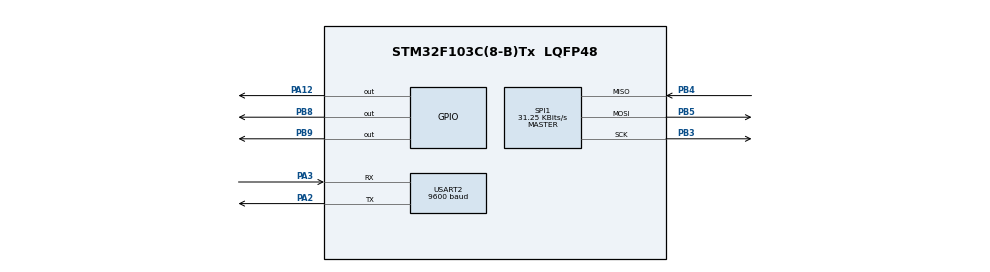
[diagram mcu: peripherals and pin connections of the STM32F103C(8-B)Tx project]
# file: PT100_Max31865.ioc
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Mcu.Family=STM32F1
Mcu.Name=STM32F103C(8-B)Tx
Mcu.Package=LQFP48
NVIC.PriorityGroup=NVIC_PRIORITYGROUP_4
NVIC.USART2_IRQn=true\:0\:0\:false\:false\:true\:true
PA12.GPIO_Speed=GPIO_SPEED_FREQ_HIGH
PA12.PinState=GPIO_PIN_SET
PA12.Signal=GPIO_Output
PA13.Mode=Serial_Wire
PA13.Signal=SYS_JTMS-SWDIO
PA14.Mode=Serial_Wire
PA14.Signal=SYS_JTCK-SWCLK
PA2.Mode=Asynchronous
PA2.Signal=USART2_TX
PA3.Mode=Asynchronous
PA3.Signal=USART2_RX
PB3.Mode=Full_Duplex_Master
PB3.Signal=SPI1_SCK
PB4.Mode=Full_Duplex_Master
PB4.Signal=SPI1_MISO
PB5.Mode=Full_Duplex_Master
PB5.Signal=SPI1_MOSI
PB8.GPIO_Speed=GPIO_SPEED_FREQ_LOW
PB8.PinState=GPIO_PIN_RESET
PB8.Signal=GPIO_Output
PB9.Signal=GPIO_Output
PD0-OSC_IN.Mode=HSE-External-Oscillator
PD0-OSC_IN.Signal=RCC_OSC_IN
PD1-OSC_OUT.Mode=HSE-External-Oscillator
PD1-OSC_OUT.Signal=RCC_OSC_OUT
ProjectManager.HeapSize=0x200
ProjectManager.StackSize=0x400
ProjectManager.TargetToolchain=TrueSTUDIO
RCC.APB1Freq_Value=8000000
RCC.APB2Freq_Value=8000000
RCC.PLLSourceVirtual=RCC_PLLSOURCE_HSE
RCC.SYSCLKSource=RCC_SYSCLKSOURCE_HSE
RCC.USBFreq_Value=16000000
SPI1.BaudRatePrescaler=SPI_BAUDRATEPRESCALER_256
SPI1.CLKPhase=SPI_PHASE_2EDGE
SPI1.CalculateBaudRate=31.25 KBits/s
SPI1.Direction=SPI_DIRECTION_2LINES
SPI1.Mode=SPI_MODE_MASTER
SPI1.VirtualType=VM_MASTER
USART2.BaudRate=9600
USART2.VirtualMode=VM_ASYNC
board=PT100_Max31865

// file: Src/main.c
/**
  ******************************************************************************
  * File Name          : main.c
  * Description        : Main program body
  ******************************************************************************
  ** This notice applies to any and all portions of this file
  * that are not between comment pairs USER CODE BEGIN and
  * USER CODE END. Other portions of this file, whether
  * inserted by the user or by software development tools
  * are owned by their respective copyright owners.
  *
  * COPYRIGHT(c) 2019 STMicroelectronics
  *
  * Redistribution and use in source and binary forms, with or without modification,
  * are permitted provided that the following conditions are met:
  *   1. Redistributions of source code must retain the above copyright notice,
  *      this list of conditions and the following disclaimer.
  *   2. Redistributions in binary form must reproduce the above copyright notice,
  *      this list of conditions and the following disclaimer in the documentation
  *      and/or other materials provided with the distribution.
  *   3. Neither the name of STMicroelectronics nor the names of its contributors
  *      may be used to endorse or promote products derived from this software
  *      without specific prior written permission.
  *
  * THIS SOFTWARE IS PROVIDED BY THE COPYRIGHT HOLDERS AND CONTRIBUTORS "AS IS"
  * AND ANY EXPRESS OR IMPLIED WARRANTIES, INCLUDING, BUT NOT LIMITED TO, THE
  * IMPLIED WARRANTIES OF MERCHANTABILITY AND FITNESS FOR A PARTICULAR PURPOSE ARE
  * DISCLAIMED. IN NO EVENT SHALL THE COPYRIGHT HOLDER OR CONTRIBUTORS BE LIABLE
  * FOR ANY DIRECT, INDIRECT, INCIDENTAL, SPECIAL, EXEMPLARY, OR CONSEQUENTIAL
  * DAMAGES (INCLUDING, BUT NOT LIMITED TO, PROCUREMENT OF SUBSTITUTE GOODS OR
  * SERVICES; LOSS OF USE, DATA, OR PROFITS; OR BUSINESS INTERRUPTION) HOWEVER
  * CAUSED AND ON ANY THEORY OF LIABILITY, WHETHER IN CONTRACT, STRICT LIABILITY,
  * OR TORT (INCLUDING NEGLIGENCE OR OTHERWISE) ARISING IN ANY WAY OUT OF THE USE
  * OF THIS SOFTWARE, EVEN IF ADVISED OF THE POSSIBILITY OF SUCH DAMAGE.
  *
  ******************************************************************************
  */

#include "main.h"
#include "stm32f1xx_hal.h"

/* USER CODE BEGIN Includes */
#include <dbgPrint.h>
#include <MAX31865.h>
#include <ChecksumXOR.h>
#include <stringlib.h>
#include <macro.h>

#include "stdlib.h"
#include "stdio.h"
#include "string.h"
#include "math.h"
/* USER CODE END Includes */

SPI_HandleTypeDef hspi1;

UART_HandleTypeDef huart2;

/* USER CODE BEGIN PV */
/* Private variables ---------------------------------------------------------*/
struct TEMP
{
	uint8_t readData[128];
	uint8_t checksum[2];
	char Convert[50];
} A;
/* USER CODE END PV */

void SystemClock_Config(void);
static void MX_GPIO_Init(void);
static void MX_SPI1_Init(void);
static void MX_USART2_UART_Init(void);

/* USER CODE BEGIN PFP */
/* Private function prototypes -----------------------------------------------*/

/* USER CODE END PFP */

/* USER CODE BEGIN 0 */
volatile uint8_t proceed_flag = 0;
volatile uint8_t proceed_flag_1 = 0;
uint8_t proceed_flag_2 = 0;
uint8_t proceed_flag_3 = 0;

uint8_t string[] = "ATEMP,";

void printchar (uint8_t c)
{
	HAL_UART_Transmit(&huart2, &c, 1, 1000);
}

//............................/*Functions Document for MAX31865*/.........................
void spi_write(uint8_t *data, uint8_t len)
{
	HAL_SPI_Transmit(&hspi1, data, len, HAL_MAX_DELAY);
}
void spi_read(uint8_t *buffer, uint8_t len)
{
	HAL_SPI_Receive(&hspi1, buffer, len, HAL_MAX_DELAY);
}
void MAX31865_read(uint8_t addr, uint8_t *buffer, uint8_t len)
{
    addr &= ~MAX31865_READ;                                     // Force read bit on address

    HAL_GPIO_WritePin(GPIO_PORT_CS, GPIO_PIN_CS, GPIO_PIN_RESET);          // Enable CE
    spi_write(&addr, 1);                                        // Write addr
    while(HAL_SPI_GetState(&hspi1) != HAL_SPI_STATE_READY);
    spi_read(buffer, len);                                      // Read data
    HAL_GPIO_WritePin(GPIO_PORT_CS, GPIO_PIN_CS, GPIO_PIN_SET);         // Disable CE

}
void MAX31865_write(uint8_t addr, uint8_t data)
{
    addr |= MAX31865_WRITE;                                 // Force write bit on address

    HAL_GPIO_WritePin(GPIO_PORT_CS, GPIO_PIN_CS, GPIO_PIN_RESET);      // Enable CE
    spi_write(&addr, 1);                                    // Write addr
    spi_write(&data, 1);                                    // Write data
    HAL_GPIO_WritePin(GPIO_PORT_CS, GPIO_PIN_CS, GPIO_PIN_SET);     // Disable CE
}

float  temperature(float RTDnominal, float refResistor, float data) {

  float Z1, Z2, Z3, Z4, Rt, temp;

  Rt = data;
  Rt /= 32768;
  Rt *= refResistor;

  Z1 = -RTD_A;
  Z2 = RTD_A * RTD_A - (4 * RTD_B);
  Z3 = (4 * RTD_B) / RTDnominal;
  Z4 = 2 * RTD_B;

  temp = Z2 + (Z3 * Rt);
  temp = (sqrt(temp) + Z1) / Z4;

  if (temp >= 0) return temp;

  // ugh.
  Rt /= RTDnominal;
  Rt *= 100;      // normalize to 100 ohm

  float rpoly = Rt;

  temp = -242.02;
  temp += 2.2228 * rpoly;
  rpoly *= Rt;  // square
  temp += 2.5859e-3 * rpoly;
  rpoly *= Rt;  // ^3
  temp -= 4.8260e-6 * rpoly;
  rpoly *= Rt;  // ^4
  temp -= 2.8183e-8 * rpoly;
  rpoly *= Rt;  // ^5
  temp += 1.5243e-10 * rpoly;

  return temp;
}

float MAX31865_readTemp()
{
	MAX31865_write(0, 0xB2);
	HAL_Delay(100);

    // Read data from max31865 data registers
    uint8_t max3[2];
    MAX31865_read(MAX31856_RTDMSB_REG, max3, 2);

    // Combine 2 bytes into 1 number, and shift 1 down to remove fault bit
    uint32_t data = max3[0] << 8;
    data |= max3[1];
    data >>= 1;
//  DBG_print("data=%02x \r\n",data);

    // Calculate the temperature from the measured resistance
    float temp = temperature(100, 430, (float) data );

    return temp;
}
//......................../*END Functions Document for MAX31865*/.........................

//............................/*Receive Data from Itracking*/..............................
uint8_t rx_index = 0;
uint8_t rx_data;
uint8_t rx_buffer[128] = {0};
//uint8_t version[] = "v1.0 \r\n";

void HAL_UART_RxCpltCallback(UART_HandleTypeDef *huart)
{
	if(huart->Instance == USART2)
	{
		rx_buffer[rx_index++] = rx_data;
		if (rx_data == '\r') {
			proceed_flag_1 = 1;
		}
	}
	HAL_UART_Receive_IT(&huart2, &rx_data, 1);
}

/* USER CODE END 0 */

int main(void)
{

  /* USER CODE BEGIN 1 */
	uint8_t count = 0, index = 0, dem=0, count1;
	uint32_t Time;
	uint8_t result;

	uint8_t lhs[128];
	uint8_t rhs[50];

	uint32_t Delay = 1000;	//Default 1s

  /* USER CODE END 1 */

  /* MCU Configuration----------------------------------------------------------*/

  /* Reset of all peripherals, Initializes the Flash interface and the Systick. */
  HAL_Init();

  /* Configure the system clock */
  SystemClock_Config();

  /* Initialize all configured peripherals */
  MX_GPIO_Init();
  MX_SPI1_Init();
  MX_USART2_UART_Init();

  /* USER CODE BEGIN 2 */
  DBG_setup(printchar);
  HAL_UART_Receive_IT(&huart2, &rx_data, 1);

  /* USER CODE END 2 */

  /* Infinite loop */
  /* USER CODE BEGIN WHILE */
  while (1)
  {
	  DBG_print(rx_buffer);
//...................../*Compare Checksum*/.....................
	  if (proceed_flag_1 != 0) {
		  if (result = compareChecksum(rx_buffer) != 0 ) {
			  	DBG_print("Data: %s \r\n", s.data);
				DBG_print(" True Data \r\n");
//				DBG_print("result:%d \r\n",result);
				proceed_flag = 1;
				proceed_flag_2 = 1;
			} else {
				DBG_print("Data: %s \r\n", s.data);
				DBG_print(s.CheckXOR);
				DBG_print(" False Data \r\n");
//				DBG_print("result:%d \r\n",result);
			}
		  proceed_flag_1 = 0;
	  }

  /* USER CODE END WHILE */

  /* USER CODE BEGIN 3 */

//......................../*Handle Receive from Itracking */....................
	  if (proceed_flag_2 != 0) {
		  memset(lhs, 0, 128);
		  memset(rhs, 0, 50);

		  for (uint8_t k=0; k < strlen(rx_buffer); k++)
		  {
				count++;
				if (strncmp(&rx_buffer[k], "ATEMP", 5) == 0) {
					for (uint8_t i=count; rx_buffer[i] != '\n'; i++)
					{
						index ++;
						memcpy(lhs, rx_buffer+(count-1), index);
					}
					break;
				}
			}

	  	for (uint8_t j=1; lhs[j] != 0; j++)
		{
			if (lhs[j] == ',')
			{
				for (uint8_t m=j; lhs[m] != '*'; m++)
				{
					dem++;
				}
				memcpy(rhs, lhs + (j + 1), dem - 1);
				dem = 0;
			}
		}

	  	Time = atol (rhs); //Doi sang kieu so nguyen
		DBG_print("Time=%d \r\n",Time);
		if (Time == 0)
		{
			proceed_flag = 0;
			Delay = 1000;
		} else {
			Delay = Time;
			DBG_print("Delay=%d \r\n",Delay);
		}

		proceed_flag_2 = 0;
		count = 0;
	  }

// ............./* Read Temperature */.....................
	  if (proceed_flag != 0)
	  {
		  float temp = MAX31865_readTemp();
//	 	  DBG_print("temp=%f \r\n",temp);

		  if (temp > 0 && temp < 850) {
			  // Khi do nhiet do trong khoang 0 -> 850 thi sang den Do, tat den Xanh
			  HAL_GPIO_WritePin(GPIOB, GPIO_PIN_8, GPIO_PIN_SET);	//Led Do sang
			  HAL_GPIO_WritePin(GPIOB, GPIO_PIN_9, GPIO_PIN_RESET);	//Led Xanh tat
			  proceed_flag_3 = 1;
//			  DBG_print("$TEMP,%f \r\n",temp);
		  } else if (temp > -200 && temp < 0) {
			  // Khi do nhiet do trong khoang -200 -> 0 thi sang den Xanh, tat den Do
			  HAL_GPIO_WritePin(GPIOB, GPIO_PIN_8, GPIO_PIN_RESET);	//Led Do tat
			  HAL_GPIO_WritePin(GPIOB, GPIO_PIN_9, GPIO_PIN_SET);	//Led Xanh sang
			  proceed_flag_3 = 1;
//			  DBG_print("$TEMP,%f \r\n",temp);
		  } else {
			  // Neu nam ngoai ca 2 truong hop tren thi tat ca 2 den
			  // Hoac khi chua ket noi cam bien thi cung tat ca 2 den
			  HAL_GPIO_WritePin(GPIOB, GPIO_PIN_8, GPIO_PIN_RESET);
			  HAL_GPIO_WritePin(GPIOB, GPIO_PIN_9, GPIO_PIN_RESET);
			  proceed_flag_3 = 0;
		  }

//........................./*Checksum XOR Transmit Data*/.......................
		  if (proceed_flag_3 == 1) {

			  memset(A.readData, 0, 128);
			  memset(A.Convert, 0, 50);
			  memset(A.checksum, 0, 2);
			  //Convert doublue to string
			  SL_double2s(temp, sizeof(A.Convert), A.Convert);
//			  DBG_print("%s \r\n", A.Convert);

			  count1 = strlen(A.Convert);
			  memcpy(string + 6, A.Convert, count1);
			  memcpy(string + count1 + 6, "*\r\n", 3);

//		      DBG_print(string);
			  valueChecksum(string, A.readData, A.checksum);
			  if (A.checksum != 0) {
//			  DBG_print("Result: ");
				 DBG_print("$TEMP,%f*%s \r\n", temp, A.checksum);
			  }
			  proceed_flag_3 = 0;
		  }
	  }

//...................../*Clean buffer*/...................
	  rx_index = 0;
	  memset(rx_buffer, 0, 128);
	  HAL_Delay(Delay);
  }
  /* USER CODE END 3 */

}

/** System Clock Configuration
*/
void SystemClock_Config(void)
{

  RCC_OscInitTypeDef RCC_OscInitStruct;
  RCC_ClkInitTypeDef RCC_ClkInitStruct;

    /**Initializes the CPU, AHB and APB busses clocks
    */
  RCC_OscInitStruct.OscillatorType = RCC_OSCILLATORTYPE_HSE;
  RCC_OscInitStruct.HSEState = RCC_HSE_ON;
  RCC_OscInitStruct.PLL.PLLState = RCC_PLL_NONE;
  if (HAL_RCC_OscConfig(&RCC_OscInitStruct) != HAL_OK)
  {
    _Error_Handler(__FILE__, __LINE__);
  }

    /**Initializes the CPU, AHB and APB busses clocks
    */
  RCC_ClkInitStruct.ClockType = RCC_CLOCKTYPE_HCLK|RCC_CLOCKTYPE_SYSCLK
                              |RCC_CLOCKTYPE_PCLK1|RCC_CLOCKTYPE_PCLK2;
  RCC_ClkInitStruct.SYSCLKSource = RCC_SYSCLKSOURCE_HSE;
  RCC_ClkInitStruct.AHBCLKDivider = RCC_SYSCLK_DIV1;
  RCC_ClkInitStruct.APB1CLKDivider = RCC_HCLK_DIV1;
  RCC_ClkInitStruct.APB2CLKDivider = RCC_HCLK_DIV1;

  if (HAL_RCC_ClockConfig(&RCC_ClkInitStruct, FLASH_LATENCY_0) != HAL_OK)
  {
    _Error_Handler(__FILE__, __LINE__);
  }

    /**Configure the Systick interrupt time
    */
  HAL_SYSTICK_Config(HAL_RCC_GetHCLKFreq()/1000);

    /**Configure the Systick
    */
  HAL_SYSTICK_CLKSourceConfig(SYSTICK_CLKSOURCE_HCLK);

  /* SysTick_IRQn interrupt configuration */
  HAL_NVIC_SetPriority(SysTick_IRQn, 0, 0);
}

/* SPI1 init function */
static void MX_SPI1_Init(void)
{

  /* SPI1 parameter configuration*/
  hspi1.Instance = SPI1;
  hspi1.Init.Mode = SPI_MODE_MASTER;
  hspi1.Init.Direction = SPI_DIRECTION_2LINES;
  hspi1.Init.DataSize = SPI_DATASIZE_8BIT;
  hspi1.Init.CLKPolarity = SPI_POLARITY_LOW;
  hspi1.Init.CLKPhase = SPI_PHASE_2EDGE;
  hspi1.Init.NSS = SPI_NSS_SOFT;
  hspi1.Init.BaudRatePrescaler = SPI_BAUDRATEPRESCALER_256;
  hspi1.Init.FirstBit = SPI_FIRSTBIT_MSB;
  hspi1.Init.TIMode = SPI_TIMODE_DISABLE;
  hspi1.Init.CRCCalculation = SPI_CRCCALCULATION_DISABLE;
  hspi1.Init.CRCPolynomial = 10;
  if (HAL_SPI_Init(&hspi1) != HAL_OK)
  {
    _Error_Handler(__FILE__, __LINE__);
  }

}

/* USART2 init function */
static void MX_USART2_UART_Init(void)
{

  huart2.Instance = USART2;
  huart2.Init.BaudRate = 9600;
  huart2.Init.WordLength = UART_WORDLENGTH_8B;
  huart2.Init.StopBits = UART_STOPBITS_1;
  huart2.Init.Parity = UART_PARITY_NONE;
  huart2.Init.Mode = UART_MODE_TX_RX;
  huart2.Init.HwFlowCtl = UART_HWCONTROL_NONE;
  huart2.Init.OverSampling = UART_OVERSAMPLING_16;
  if (HAL_UART_Init(&huart2) != HAL_OK)
  {
    _Error_Handler(__FILE__, __LINE__);
  }

}

/** Configure pins as
        * Analog
        * Input
        * Output
        * EVENT_OUT
        * EXTI
*/
static void MX_GPIO_Init(void)
{

  GPIO_InitTypeDef GPIO_InitStruct;

  /* GPIO Ports Clock Enable */
  __HAL_RCC_GPIOD_CLK_ENABLE();
  __HAL_RCC_GPIOA_CLK_ENABLE();
  __HAL_RCC_GPIOB_CLK_ENABLE();

  /*Configure GPIO pin Output Level */
  HAL_GPIO_WritePin(GPIOA, GPIO_PIN_12, GPIO_PIN_SET);

  /*Configure GPIO pin Output Level */
  HAL_GPIO_WritePin(GPIOB, GPIO_PIN_8|GPIO_PIN_9, GPIO_PIN_RESET);

  /*Configure GPIO pin : PA12 */
  GPIO_InitStruct.Pin = GPIO_PIN_12;
  GPIO_InitStruct.Mode = GPIO_MODE_OUTPUT_PP;
  GPIO_InitStruct.Speed = GPIO_SPEED_FREQ_HIGH;
  HAL_GPIO_Init(GPIOA, &GPIO_InitStruct);

  /*Configure GPIO pins : PB8 PB9 */
  GPIO_InitStruct.Pin = GPIO_PIN_8|GPIO_PIN_9;
  GPIO_InitStruct.Mode = GPIO_MODE_OUTPUT_PP;
  GPIO_InitStruct.Speed = GPIO_SPEED_FREQ_LOW;
  HAL_GPIO_Init(GPIOB, &GPIO_InitStruct);

}

void _Error_Handler(char * file, int line)
{
  while(1)
  {
  }
}

/************************ (C) COPYRIGHT STMicroelectronics *****END OF FILE****/
